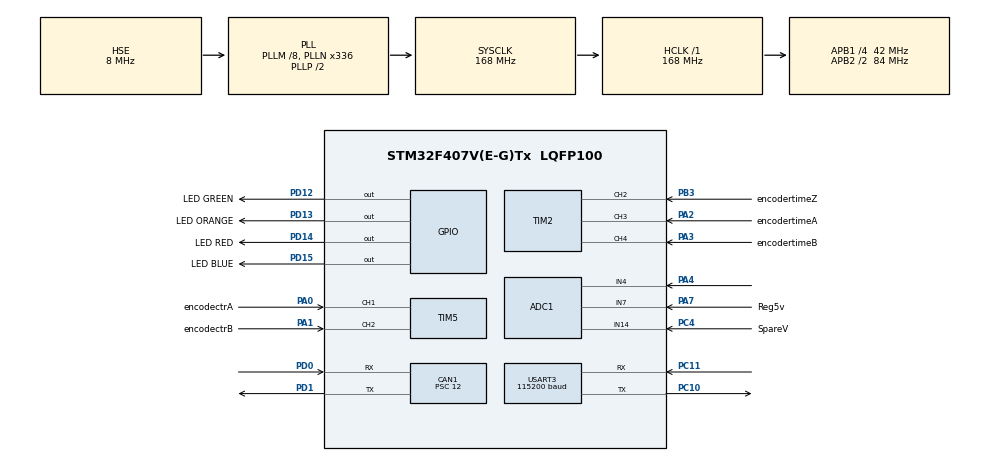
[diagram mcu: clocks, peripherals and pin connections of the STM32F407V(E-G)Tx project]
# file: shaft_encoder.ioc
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ADC1.Channel-1\#ChannelRegularConversion=ADC_CHANNEL_4
ADC1.Channel-2\#ChannelRegularConversion=ADC_CHANNEL_7
ADC1.Channel-3\#ChannelRegularConversion=ADC_CHANNEL_14
ADC1.Channel-4\#ChannelRegularConversion=ADC_CHANNEL_TEMPSENSOR
ADC1.Channel-5\#ChannelRegularConversion=ADC_CHANNEL_VREFINT
ADC1.ContinuousConvMode=ENABLE
ADC1.DMAContinuousRequests=ENABLE
ADC1.InjNumberOfConversion=0
ADC1.NbrOfConversion=5
ADC1.NbrOfConversionFlag=1
ADC1.Rank-1\#ChannelRegularConversion=1
ADC1.Rank-2\#ChannelRegularConversion=2
ADC1.Rank-3\#ChannelRegularConversion=3
ADC1.Rank-4\#ChannelRegularConversion=4
ADC1.Rank-5\#ChannelRegularConversion=5
ADC1.SamplingTime-1\#ChannelRegularConversion=ADC_SAMPLETIME_480CYCLES
ADC1.SamplingTime-2\#ChannelRegularConversion=ADC_SAMPLETIME_480CYCLES
ADC1.SamplingTime-3\#ChannelRegularConversion=ADC_SAMPLETIME_480CYCLES
ADC1.SamplingTime-4\#ChannelRegularConversion=ADC_SAMPLETIME_480CYCLES
ADC1.SamplingTime-5\#ChannelRegularConversion=ADC_SAMPLETIME_480CYCLES
ADC1.master=1
CAN1.BS1=CAN_BS1_5TQ
CAN1.CalculateTimeQuantum=285.7142857142857
CAN1.Prescaler=12
Dma.ADC1.2.Direction=DMA_PERIPH_TO_MEMORY
Dma.ADC1.2.FIFOMode=DMA_FIFOMODE_DISABLE
Dma.ADC1.2.Instance=DMA2_Stream0
Dma.ADC1.2.MemDataAlignment=DMA_MDATAALIGN_HALFWORD
Dma.ADC1.2.MemInc=DMA_MINC_ENABLE
Dma.ADC1.2.Mode=DMA_CIRCULAR
Dma.ADC1.2.PeriphDataAlignment=DMA_PDATAALIGN_HALFWORD
Dma.ADC1.2.PeriphInc=DMA_PINC_DISABLE
Dma.ADC1.2.Priority=DMA_PRIORITY_LOW
Dma.Request0=USART3_RX
Dma.Request1=USART3_TX
Dma.Request2=ADC1
Dma.USART3_RX.0.Direction=DMA_PERIPH_TO_MEMORY
Dma.USART3_RX.0.FIFOMode=DMA_FIFOMODE_DISABLE
Dma.USART3_RX.0.Instance=DMA1_Stream1
Dma.USART3_RX.0.MemDataAlignment=DMA_MDATAALIGN_BYTE
Dma.USART3_RX.0.MemInc=DMA_MINC_ENABLE
Dma.USART3_RX.0.Mode=DMA_NORMAL
Dma.USART3_RX.0.PeriphDataAlignment=DMA_PDATAALIGN_BYTE
Dma.USART3_RX.0.PeriphInc=DMA_PINC_DISABLE
Dma.USART3_RX.0.Priority=DMA_PRIORITY_LOW
Dma.USART3_TX.1.Direction=DMA_MEMORY_TO_PERIPH
Dma.USART3_TX.1.FIFOMode=DMA_FIFOMODE_DISABLE
Dma.USART3_TX.1.Instance=DMA1_Stream3
Dma.USART3_TX.1.MemDataAlignment=DMA_MDATAALIGN_BYTE
Dma.USART3_TX.1.MemInc=DMA_MINC_ENABLE
Dma.USART3_TX.1.Mode=DMA_NORMAL
Dma.USART3_TX.1.PeriphDataAlignment=DMA_PDATAALIGN_BYTE
Dma.USART3_TX.1.PeriphInc=DMA_PINC_DISABLE
Dma.USART3_TX.1.Priority=DMA_PRIORITY_LOW
FREERTOS.INCLUDE_uxTaskGetStackHighWaterMark=1
FREERTOS.INCLUDE_vTaskDelayUntil=1
FREERTOS.INCLUDE_vTaskDelete=0
FREERTOS.INCLUDE_xTaskGetCurrentTaskHandle=1
FREERTOS.MEMORY_ALLOCATION=2
FREERTOS.Tasks01=defaultTask,0,384,StartDefaultTask,Default,NULL,Dynamic,NULL,NULL
FREERTOS.Timers01=defaultTaskTimer,CallbackdefaultTaskTimer,osTimerPeriodic,Default,NULL,Dynamic,NULL
FREERTOS.configCHECK_FOR_STACK_OVERFLOW=2
FREERTOS.configMINIMAL_STACK_SIZE=96
FREERTOS.configQUEUE_REGISTRY_SIZE=12
FREERTOS.configTICK_RATE_HZ=512
FREERTOS.configTOTAL_HEAP_SIZE=32768
FREERTOS.configUSE_TIMERS=1
Mcu.Family=STM32F4
Mcu.Name=STM32F407V(E-G)Tx
Mcu.Package=LQFP100
NVIC.ADC_IRQn=true\:7\:0\:true\:false\:true\:true\:true\:true\:true
NVIC.CAN1_RX0_IRQn=true\:7\:0\:true\:false\:true\:true\:true\:true\:true
NVIC.CAN1_RX1_IRQn=true\:7\:0\:true\:false\:true\:true\:true\:true\:true
NVIC.CAN1_TX_IRQn=true\:7\:0\:true\:false\:true\:true\:true\:true\:true
NVIC.DMA1_Stream1_IRQn=true\:10\:0\:true\:false\:true\:true\:false\:true\:true
NVIC.DMA1_Stream3_IRQn=true\:10\:0\:true\:false\:true\:true\:false\:true\:true
NVIC.DMA2_Stream0_IRQn=true\:7\:0\:true\:false\:true\:true\:false\:true\:true
NVIC.PriorityGroup=NVIC_PRIORITYGROUP_4
NVIC.TIM2_IRQn=true\:2\:0\:true\:false\:true\:true\:true\:true\:true
NVIC.TIM8_BRK_TIM12_IRQn=true\:0\:0\:false\:false\:true\:false\:false\:true\:true
NVIC.TimeBase=TIM8_BRK_TIM12_IRQn
NVIC.TimeBaseIP=TIM12
NVIC.USART3_IRQn=true\:8\:0\:true\:false\:true\:true\:true\:true\:true
PA0-WKUP.GPIO_Label=encodectrA
PA0-WKUP.GPIO_PuPd=GPIO_PULLUP
PA0-WKUP.Signal=S_TIM5_CH1
PA1.GPIO_Label=encodectrB
PA1.GPIO_PuPd=GPIO_PULLUP
PA1.Signal=S_TIM5_CH2
PA13.Mode=Serial_Wire
PA13.Signal=SYS_JTMS-SWDIO
PA14.Mode=Serial_Wire
PA14.Signal=SYS_JTCK-SWCLK
PA2.GPIO_Label=encodertimeA
PA2.GPIO_ModeDefaultPP=GPIO_MODE_AF_OD
PA2.GPIO_PuPd=GPIO_PULLUP
PA2.Signal=S_TIM2_CH3
PA3.GPIO_Label=encodertimeB
PA3.GPIO_ModeDefaultPP=GPIO_MODE_AF_OD
PA3.GPIO_PuPd=GPIO_PULLUP
PA3.Signal=S_TIM2_CH4
PA4.Signal=ADCx_IN4
PA7.GPIO_Label=Reg5v
PA7.Signal=ADCx_IN7
PB3.GPIO_Label=encodertimeZ
PB3.GPIO_ModeDefaultPP=GPIO_MODE_AF_OD
PB3.GPIO_PuPd=GPIO_PULLUP
PB3.Signal=S_TIM2_CH2
PC10.Mode=Asynchronous
PC10.Signal=USART3_TX
PC11.Mode=Asynchronous
PC11.Signal=USART3_RX
PC4.GPIO_Label=SpareV
PC4.Signal=ADCx_IN14
PD0.Mode=Master
PD0.Signal=CAN1_RX
PD1.Mode=Master
PD1.Signal=CAN1_TX
PD12.GPIO_Label=LED GREEN
PD12.Signal=GPIO_Output
PD13.GPIO_Label=LED ORANGE
PD13.Signal=GPIO_Output
PD14.GPIO_Label=LED RED
PD14.Signal=GPIO_Output
PD15.GPIO_Label=LED BLUE
PD15.Signal=GPIO_Output
PH0-OSC_IN.Mode=HSE-External-Oscillator
PH0-OSC_IN.Signal=RCC_OSC_IN
PH1-OSC_OUT.Mode=HSE-External-Oscillator
PH1-OSC_OUT.Signal=RCC_OSC_OUT
ProjectManager.HeapSize=0x200
ProjectManager.StackSize=0x400
ProjectManager.TargetToolchain=Makefile
RCC.48MHZClocksFreq_Value=48000000
RCC.AHBFreq_Value=168000000
RCC.APB1CLKDivider=RCC_HCLK_DIV4
RCC.APB1Freq_Value=42000000
RCC.APB1TimFreq_Value=84000000
RCC.APB2CLKDivider=RCC_HCLK_DIV2
RCC.APB2Freq_Value=84000000
RCC.APB2TimFreq_Value=168000000
RCC.CortexFreq_Value=168000000
RCC.HCLKFreq_Value=168000000
RCC.HSE_VALUE=8000000
RCC.HSI_VALUE=16000000
RCC.LSE_VALUE=32768
RCC.PLLM=8
RCC.PLLN=336
RCC.PLLQ=7
RCC.PLLSourceVirtual=RCC_PLLSOURCE_HSE
RCC.SYSCLKFreq_VALUE=168000000
RCC.SYSCLKSource=RCC_SYSCLKSOURCE_PLLCLK
RCC.VCOOutputFreq_Value=336000000
SH.ADCx_IN14.0=ADC1_IN14,IN14
SH.ADCx_IN4.0=ADC1_IN4,IN4
SH.ADCx_IN7.0=ADC1_IN7,IN7
SH.S_TIM2_CH2.0=TIM2_CH2,Input_Capture2_from_TI2
SH.S_TIM2_CH3.0=TIM2_CH3,Input_Capture3_from_TI3
SH.S_TIM2_CH4.0=TIM2_CH4,Input_Capture4_from_TI4
SH.S_TIM5_CH1.0=TIM5_CH1,Encoder_Interface
SH.S_TIM5_CH2.0=TIM5_CH2,Encoder_Interface
TIM2.Channel-Input_Capture2_from_TI2=TIM_CHANNEL_2
TIM2.Channel-Input_Capture3_from_TI3=TIM_CHANNEL_3
TIM2.Channel-Input_Capture4_from_TI4=TIM_CHANNEL_4
TIM2.Channel-Output\ Compare1\ No\ Output=TIM_CHANNEL_1
TIM2.ICPolarity_CH2=TIM_INPUTCHANNELPOLARITY_BOTHEDGE
TIM2.ICPolarity_CH3=TIM_INPUTCHANNELPOLARITY_BOTHEDGE
TIM2.ICPolarity_CH4=TIM_INPUTCHANNELPOLARITY_BOTHEDGE
USART3.BaudRate=115200
USART3.VirtualMode=VM_ASYNC
VP_ADC1_TempSens_Input.Mode=IN-TempSens
VP_ADC1_Vref_Input.Mode=IN-Vrefint
VP_FREERTOS_VS_CMSIS_V1.Mode=CMSIS_V1
VP_SYS_VS_tim12.Mode=TIM12
VP_TIM2_VS_no_output1.Mode=Output Compare1 No Output
VP_TIM3_VS_ClockSourceINT.Mode=Internal
board=custom

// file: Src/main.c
/* USER CODE BEGIN Header */
/**
  ******************************************************************************
  * @file           : main.c
  * @brief          : Main program body
  ******************************************************************************
  * This notice applies to any and all portions of this file
  * that are not between comment pairs USER CODE BEGIN and
  * USER CODE END. Other portions of this file, whether
  * inserted by the user or by software development tools
  * are owned by their respective copyright owners.
  *
  * Copyright (c) 2019 STMicroelectronics International N.V.
  * All rights reserved.
  *
  * Redistribution and use in source and binary forms, with or without
  * modification, are permitted, provided that the following conditions are met:
  *
  * 1. Redistribution of source code must retain the above copyright notice,
  *    this list of conditions and the following disclaimer.
  * 2. Redistributions in binary form must reproduce the above copyright notice,
  *    this list of conditions and the following disclaimer in the documentation
  *    and/or other materials provided with the distribution.
  * 3. Neither the name of STMicroelectronics nor the names of other
  *    contributors to this software may be used to endorse or promote products
  *    derived from this software without specific written permission.
  * 4. This software, including modifications and/or derivative works of this
  *    software, must execute solely and exclusively on microcontroller or
  *    microprocessor devices manufactured by or for STMicroelectronics.
  * 5. Redistribution and use of this software other than as permitted under
  *    this license is void and will automatically terminate your rights under
  *    this license.
  *
  * THIS SOFTWARE IS PROVIDED BY STMICROELECTRONICS AND CONTRIBUTORS "AS IS"
  * AND ANY EXPRESS, IMPLIED OR STATUTORY WARRANTIES, INCLUDING, BUT NOT
  * LIMITED TO, THE IMPLIED WARRANTIES OF MERCHANTABILITY, FITNESS FOR A
  * PARTICULAR PURPOSE AND NON-INFRINGEMENT OF THIRD PARTY INTELLECTUAL PROPERTY
  * RIGHTS ARE DISCLAIMED TO THE FULLEST EXTENT PERMITTED BY LAW. IN NO EVENT
  * SHALL STMICROELECTRONICS OR CONTRIBUTORS BE LIABLE FOR ANY DIRECT, INDIRECT,
  * INCIDENTAL, SPECIAL, EXEMPLARY, OR CONSEQUENTIAL DAMAGES (INCLUDING, BUT NOT
  * LIMITED TO, PROCUREMENT OF SUBSTITUTE GOODS OR SERVICES; LOSS OF USE, DATA,
  * OR PROFITS; OR BUSINESS INTERRUPTION) HOWEVER CAUSED AND ON ANY THEORY OF
  * LIABILITY, WHETHER IN CONTRACT, STRICT LIABILITY, OR TORT (INCLUDING
  * NEGLIGENCE OR OTHERWISE) ARISING IN ANY WAY OUT OF THE USE OF THIS SOFTWARE,
  * EVEN IF ADVISED OF THE POSSIBILITY OF SUCH DAMAGE.
  *
  ******************************************************************************
  */
/* USER CODE END Header */
#include "main.h"
#include "cmsis_os.h"

/* USER CODE BEGIN Includes */
#include <string.h>
#include "SerialTaskSend.h"
#include "stm32f4xx_hal_pcd.h"
#include "CanTask.h"
#include "can_iface.h"
#include "canfilter_setup.h"
#include "stm32f4xx_hal_can.h"
#include "getserialbuf.h"
#include "stackwatermark.h"
#include "yprintf.h"
#include "DTW_counter.h"
#include "SerialTaskReceive.h"
#include "yscanf.h"
#include "morse.h"
#include "MailboxTask.h"
#include "OdometerTask.h"
#include "odometer_items.h"
#include "levelwind_items.h"
#include "drum_items.h"
#include "LevelwindTask.h"
#include "levelwind_switches.h"
//#include "DrumTask.h"
//#include "BrakeTask.h"
#include "ADCTask.h"
#include "adcparams.h"

/* USER CODE END Includes */

/* USER CODE BEGIN PTD */

void* verr[8];
uint32_t verrx = 0;
__attribute__( ( always_inline ) ) __STATIC_INLINE uint32_t __get_SP(void)
{
  register uint32_t result;

  __ASM volatile ("MOV %0, SP\n" : "=r" (result) );
  return(result);
}

uint32_t timectr = 0;
struct CAN_CTLBLOCK* pctl0;	// Pointer to CAN1 control block
struct CAN_CTLBLOCK* pctl1;	// Pointer to CAN2 control block

uint32_t debugTX1b;
uint32_t debugTX1b_prev;

uint32_t debugTX1c;
uint32_t debugTX1c_prev;

uint32_t debug03;
uint32_t debug03_prev;

extern osThreadId SerialTaskHandle;
extern osThreadId CanTxTaskHandle;
extern osThreadId CanRxTaskHandle;
extern osThreadId SerialTaskReceiveHandle;

uint16_t m_trap = 450; // Trap codes for MX Init() and Error Handler

uint8_t canflag;
uint8_t canflag1;
uint8_t canflag2;

/* USER CODE END PTD */

ADC_HandleTypeDef hadc1;
DMA_HandleTypeDef hdma_adc1;

CAN_HandleTypeDef hcan1;

TIM_HandleTypeDef htim2;
TIM_HandleTypeDef htim3;
TIM_HandleTypeDef htim5;

UART_HandleTypeDef huart3;
DMA_HandleTypeDef hdma_usart3_rx;
DMA_HandleTypeDef hdma_usart3_tx;

osThreadId defaultTaskHandle;
osTimerId defaultTaskTimerHandle;

void SystemClock_Config(void);
static void MX_GPIO_Init(void);
static void MX_DMA_Init(void);
static void MX_CAN1_Init(void);
static void MX_USART3_UART_Init(void);
static void MX_TIM2_Init(void);
static void MX_TIM5_Init(void);
static void MX_TIM3_Init(void);
static void MX_ADC1_Init(void);
void StartDefaultTask(void const * argument);
void CallbackdefaultTaskTimer(void const * argument);

int main(void)
{
  /* USER CODE BEGIN 1 */
	BaseType_t ret;	   // Used for returns from function calls
	osMessageQId Qidret; // Function call return
	osThreadId Thrdret;  // Return from thread create

// Debug: Clear heap area
//uint32_t* pclr = (uint32_t*)(0x2000bb80);
//while (pclr < (uint32_t*)(0x2000bb80 + 32768)) *pclr++ = 0x66666666;

  /* USER CODE END 1 */

  /* MCU Configuration--------------------------------------------------------*/

  /* Reset of all peripherals, Initializes the Flash interface and the Systick. */
  HAL_Init();

  /* USER CODE BEGIN Init */
	DTW_counter_init();
  /* USER CODE END Init */

  /* Configure the system clock */
  SystemClock_Config();

  /* USER CODE BEGIN SysInit */

	/* Add bcb circular buffer to SerialTaskSend for usart3 -- PC monitor */
	#define NUMCIRBCB3  16 // Size of circular buffer of BCB for usart3
	ret = xSerialTaskSendAdd(&HUARTMON, NUMCIRBCB3, 1); // dma
	if (ret < 0) morse_trap(14); // Panic LED flashing

	/* Setup TX linked list for CAN  */
   // CAN1 (CAN_HandleTypeDef *phcan, uint8_t canidx, uint16_t numtx, uint16_t numrx);
	pctl0 = can_iface_init(&hcan1, 0, 32, 32);
	if (pctl0 == NULL) morse_trap(7); // Panic LED flashing
	if (pctl0->ret < 0) morse_trap(77);

	// CAN 2
#ifdef CONFIGCAN2
	pctl1 = can_iface_init(&hcan2, 1,32, 64);
	if (pctl1 == NULL) morse_trap(8); // Panic LED flashing
	if (pctl1->ret < 0) morse_trap(88);
#endif

  /* USER CODE END SysInit */

  /* Initialize all configured peripherals */
  MX_GPIO_Init();
  MX_DMA_Init();
  MX_CAN1_Init();
  MX_USART3_UART_Init();
  MX_TIM2_Init();
  MX_TIM5_Init();
  MX_TIM3_Init();
  MX_ADC1_Init();

  /* Create the timer(s) */
  /* definition and creation of defaultTaskTimer */
  osTimerDef(defaultTaskTimer, CallbackdefaultTaskTimer);
  defaultTaskTimerHandle = osTimerCreate(osTimer(defaultTaskTimer), osTimerPeriodic, NULL);

  /* USER CODE BEGIN RTOS_TIMERS */
  /* start timers, add new ones, ... */

	/* defaultTask timer for pacing defaultTask output. */
//	ret = xTimerChangePeriod( defaultTaskTimerHandle  ,pdMS_TO_TICKS(64),0);

  /* USER CODE END RTOS_TIMERS */

  /* Create the thread(s) */
  /* definition and creation of defaultTask */
  osThreadDef(defaultTask, StartDefaultTask, osPriorityNormal, 0, 384);
  defaultTaskHandle = osThreadCreate(osThread(defaultTask), NULL);

  /* USER CODE BEGIN RTOS_THREADS */
  /* add threads, ... */
/* =================================================== */
  /* init code for USB_DEVICE */

//taskENTER_CRITICAL();
  //MX_USB_DEVICE_Init();
  //osDelay(0);
//taskEXIT_CRITICAL();

	/* Create serial task (priority) */
	// Task handle "osThreadId SerialTaskHandle" is global
	Thrdret = xSerialTaskSendCreate(1);	// Create task and set Task priority
	if (Thrdret == NULL) morse_trap(225);

	/* Create serial receiving task. */
//	ret = xSerialTaskReceiveCreate(1);
//	if (ret != pdPASS) morse_trap(224);

	/* Setup semaphore for yprint and sprintf et al. */
	yprintf_init();

  /* definition and creation of CanTxTask - CAN driver TX interface. */
  Qidret = xCanTxTaskCreate(1, 64); // CanTask priority, Number of msgs in queue
	if (Qidret < 0) morse_trap(220); // Panic LED flashing

  /* definition and creation of CanRxTask - CAN driver RX interface. */
  /* The MailboxTask takes care of the CANRx                         */
//  Qidret = xCanRxTaskCreate(1, 32); // CanTask priority, Number of msgs in queue
//	if (Qidret < 0) morse_trap(6); // Panic LED flashing

	/* Setup CAN hardware filters to default to accept all ids. */
	HAL_StatusTypeDef Cret;
	Cret = canfilter_setup_first(0, &hcan1, 15); // CAN1
	if (Cret == HAL_ERROR) morse_trap(219);

#ifdef CONFIGCAN2
	Cret = canfilter_setup_first(0, &hcan2, 15); // CAN2
	if (Cret == HAL_ERROR) morse_trap(217);
#endif

	/* Remove "accept all" CAN msgs and add specific id & mask, or id here. */
	// See canfilter_setup.h

	/* Create MailboxTask */
	xMailboxTaskCreate(osPriorityNormal+1); // (arg) = priority

	/* Create Mailbox control block w 'take' pointer for each CAN module. */
	struct MAILBOXCANNUM* pmbxret;
	// (CAN1 control block pointer, size of circular buffer)
	pmbxret = MailboxTask_add_CANlist(pctl0, 48);
	if (pmbxret == NULL) morse_trap(215);

#ifdef CONFIGCAN2
	// (CAN2 control block pointer, size of circular buffer)
	pmbxret = MailboxTask_add_CANlist(pctl1, 48); // Use default buff size
	if (pmbxret == NULL) morse_trap(214);
#endif

  /* ADC summing, calibration, etc. */
  xADCTaskCreate(1); // (arg) = priority

  /* Odometer task */
  Thrdret = xOdometerTaskCreate(osPriorityNormal+2); // (arg) = priority
  if (Thrdret == NULL) morse_trap(2164);

  /* Levelwind (stepper) task */
//  Thrdret = xLevelwindTaskCreate(5); // (arg) = priority
//  if (Thrdret == NULL) morse_trap(2161);

  /* Drum task */
//  Thrdret = xDrumTaskCreate(4); // (arg) = priority
//  if (Thrdret == NULL) morse_trap(2162);

  /* Brake task */
//  Thrdret = xBrakeTaskCreate(1); // (arg) = priority
//  if (Thrdret == NULL) morse_trap(2163);

	/* Further initialization of mailboxes takes place when tasks start */

	/* Select interrupts for CAN1 */
	HAL_CAN_ActivateNotification(&hcan1, \
		CAN_IT_TX_MAILBOX_EMPTY     |  \
		CAN_IT_RX_FIFO0_MSG_PENDING |  \
		CAN_IT_RX_FIFO1_MSG_PENDING    );

	/* Select interrupts for CAN2 */
#ifdef CONFIGCAN2
	HAL_CAN_ActivateNotification(&hcan2, \
		CAN_IT_TX_MAILBOX_EMPTY     |  \
		CAN_IT_RX_FIFO0_MSG_PENDING |  \
		CAN_IT_RX_FIFO1_MSG_PENDING    );
#endif

/* =================================================== */

  /* USER CODE END RTOS_THREADS */

  /* Start scheduler */
  osKernelStart();

  /* We should never get here as control is now taken by the scheduler */
  /* Infinite loop */
  while (1)
  {

  }
}

void SystemClock_Config(void)
{
  RCC_OscInitTypeDef RCC_OscInitStruct = {0};
  RCC_ClkInitTypeDef RCC_ClkInitStruct = {0};

  /** Configure the main internal regulator output voltage
  */
  __HAL_RCC_PWR_CLK_ENABLE();
  __HAL_PWR_VOLTAGESCALING_CONFIG(PWR_REGULATOR_VOLTAGE_SCALE1);
  /** Initializes the RCC Oscillators according to the specified parameters
  * in the RCC_OscInitTypeDef structure.
  */
  RCC_OscInitStruct.OscillatorType = RCC_OSCILLATORTYPE_HSE;
  RCC_OscInitStruct.HSEState = RCC_HSE_ON;
  RCC_OscInitStruct.PLL.PLLState = RCC_PLL_ON;
  RCC_OscInitStruct.PLL.PLLSource = RCC_PLLSOURCE_HSE;
  RCC_OscInitStruct.PLL.PLLM = 8;
  RCC_OscInitStruct.PLL.PLLN = 336;
  RCC_OscInitStruct.PLL.PLLP = RCC_PLLP_DIV2;
  RCC_OscInitStruct.PLL.PLLQ = 7;
  if (HAL_RCC_OscConfig(&RCC_OscInitStruct) != HAL_OK)
  {
    Error_Handler();
  }
  /** Initializes the CPU, AHB and APB buses clocks
  */
  RCC_ClkInitStruct.ClockType = RCC_CLOCKTYPE_HCLK|RCC_CLOCKTYPE_SYSCLK
                              |RCC_CLOCKTYPE_PCLK1|RCC_CLOCKTYPE_PCLK2;
  RCC_ClkInitStruct.SYSCLKSource = RCC_SYSCLKSOURCE_PLLCLK;
  RCC_ClkInitStruct.AHBCLKDivider = RCC_SYSCLK_DIV1;
  RCC_ClkInitStruct.APB1CLKDivider = RCC_HCLK_DIV4;
  RCC_ClkInitStruct.APB2CLKDivider = RCC_HCLK_DIV2;

  if (HAL_RCC_ClockConfig(&RCC_ClkInitStruct, FLASH_LATENCY_5) != HAL_OK)
  {
    Error_Handler();
  }
}

static void MX_ADC1_Init(void)
{

  ADC_ChannelConfTypeDef sConfig = {0};

  /** Configure the global features of the ADC (Clock, Resolution, Data Alignment and number of conversion)
  */
  hadc1.Instance = ADC1;
  hadc1.Init.ClockPrescaler = ADC_CLOCK_SYNC_PCLK_DIV4;
  hadc1.Init.Resolution = ADC_RESOLUTION_12B;
  hadc1.Init.ScanConvMode = ENABLE;
  hadc1.Init.ContinuousConvMode = ENABLE;
  hadc1.Init.DiscontinuousConvMode = DISABLE;
  hadc1.Init.ExternalTrigConvEdge = ADC_EXTERNALTRIGCONVEDGE_NONE;
  hadc1.Init.ExternalTrigConv = ADC_SOFTWARE_START;
  hadc1.Init.DataAlign = ADC_DATAALIGN_RIGHT;
  hadc1.Init.NbrOfConversion = 5;
  hadc1.Init.DMAContinuousRequests = ENABLE;
  hadc1.Init.EOCSelection = ADC_EOC_SINGLE_CONV;
  if (HAL_ADC_Init(&hadc1) != HAL_OK)
  {
    Error_Handler();
  }
  /** Configure for the selected ADC regular channel its corresponding rank in the sequencer and its sample time.
  */
  sConfig.Channel = ADC_CHANNEL_4;
  sConfig.Rank = 1;
  sConfig.SamplingTime = ADC_SAMPLETIME_480CYCLES;
  if (HAL_ADC_ConfigChannel(&hadc1, &sConfig) != HAL_OK)
  {
    Error_Handler();
  }
  /** Configure for the selected ADC regular channel its corresponding rank in the sequencer and its sample time.
  */
  sConfig.Channel = ADC_CHANNEL_7;
  sConfig.Rank = 2;
  if (HAL_ADC_ConfigChannel(&hadc1, &sConfig) != HAL_OK)
  {
    Error_Handler();
  }
  /** Configure for the selected ADC regular channel its corresponding rank in the sequencer and its sample time.
  */
  sConfig.Channel = ADC_CHANNEL_14;
  sConfig.Rank = 3;
  if (HAL_ADC_ConfigChannel(&hadc1, &sConfig) != HAL_OK)
  {
    Error_Handler();
  }
  /** Configure for the selected ADC regular channel its corresponding rank in the sequencer and its sample time.
  */
  sConfig.Channel = ADC_CHANNEL_TEMPSENSOR;
  sConfig.Rank = 4;
  if (HAL_ADC_ConfigChannel(&hadc1, &sConfig) != HAL_OK)
  {
    Error_Handler();
  }
  /** Configure for the selected ADC regular channel its corresponding rank in the sequencer and its sample time.
  */
  sConfig.Channel = ADC_CHANNEL_VREFINT;
  sConfig.Rank = 5;
  if (HAL_ADC_ConfigChannel(&hadc1, &sConfig) != HAL_OK)
  {
    Error_Handler();
  }

}

static void MX_CAN1_Init(void)
{

  /* USER CODE BEGIN CAN1_Init 0 */
	m_trap = 456; // morse_trap(456);
  /* USER CODE END CAN1_Init 0 */

  hcan1.Instance = CAN1;
  hcan1.Init.Prescaler = 12;
  hcan1.Init.Mode = CAN_MODE_NORMAL;
  hcan1.Init.SyncJumpWidth = CAN_SJW_1TQ;
  hcan1.Init.TimeSeg1 = CAN_BS1_5TQ;
  hcan1.Init.TimeSeg2 = CAN_BS2_1TQ;
  hcan1.Init.TimeTriggeredMode = DISABLE;
  hcan1.Init.AutoBusOff = DISABLE;
  hcan1.Init.AutoWakeUp = DISABLE;
  hcan1.Init.AutoRetransmission = DISABLE;
  hcan1.Init.ReceiveFifoLocked = DISABLE;
  hcan1.Init.TransmitFifoPriority = DISABLE;
  if (HAL_CAN_Init(&hcan1) != HAL_OK)
  {
    Error_Handler();
  }

}

static void MX_TIM2_Init(void)
{

  TIM_MasterConfigTypeDef sMasterConfig = {0};
  TIM_OC_InitTypeDef sConfigOC = {0};
  TIM_IC_InitTypeDef sConfigIC = {0};

  htim2.Instance = TIM2;
  htim2.Init.Prescaler = 0;
  htim2.Init.CounterMode = TIM_COUNTERMODE_UP;
  htim2.Init.Period = 4294967295;
  htim2.Init.ClockDivision = TIM_CLOCKDIVISION_DIV1;
  htim2.Init.AutoReloadPreload = TIM_AUTORELOAD_PRELOAD_DISABLE;
  if (HAL_TIM_OC_Init(&htim2) != HAL_OK)
  {
    Error_Handler();
  }
  if (HAL_TIM_IC_Init(&htim2) != HAL_OK)
  {
    Error_Handler();
  }
  sMasterConfig.MasterOutputTrigger = TIM_TRGO_RESET;
  sMasterConfig.MasterSlaveMode = TIM_MASTERSLAVEMODE_DISABLE;
  if (HAL_TIMEx_MasterConfigSynchronization(&htim2, &sMasterConfig) != HAL_OK)
  {
    Error_Handler();
  }
  sConfigOC.OCMode = TIM_OCMODE_TIMING;
  sConfigOC.Pulse = 0;
  sConfigOC.OCPolarity = TIM_OCPOLARITY_HIGH;
  sConfigOC.OCFastMode = TIM_OCFAST_DISABLE;
  if (HAL_TIM_OC_ConfigChannel(&htim2, &sConfigOC, TIM_CHANNEL_1) != HAL_OK)
  {
    Error_Handler();
  }
  sConfigIC.ICPolarity = TIM_INPUTCHANNELPOLARITY_BOTHEDGE;
  sConfigIC.ICSelection = TIM_ICSELECTION_DIRECTTI;
  sConfigIC.ICPrescaler = TIM_ICPSC_DIV1;
  sConfigIC.ICFilter = 0;
  if (HAL_TIM_IC_ConfigChannel(&htim2, &sConfigIC, TIM_CHANNEL_2) != HAL_OK)
  {
    Error_Handler();
  }
  if (HAL_TIM_IC_ConfigChannel(&htim2, &sConfigIC, TIM_CHANNEL_3) != HAL_OK)
  {
    Error_Handler();
  }
  if (HAL_TIM_IC_ConfigChannel(&htim2, &sConfigIC, TIM_CHANNEL_4) != HAL_OK)
  {
    Error_Handler();
  }

}

static void MX_TIM3_Init(void)
{

  TIM_ClockConfigTypeDef sClockSourceConfig = {0};
  TIM_MasterConfigTypeDef sMasterConfig = {0};

  htim3.Instance = TIM3;
  htim3.Init.Prescaler = 0;
  htim3.Init.CounterMode = TIM_COUNTERMODE_UP;
  htim3.Init.Period = 65535;
  htim3.Init.ClockDivision = TIM_CLOCKDIVISION_DIV1;
  htim3.Init.AutoReloadPreload = TIM_AUTORELOAD_PRELOAD_DISABLE;
  if (HAL_TIM_Base_Init(&htim3) != HAL_OK)
  {
    Error_Handler();
  }
  sClockSourceConfig.ClockSource = TIM_CLOCKSOURCE_INTERNAL;
  if (HAL_TIM_ConfigClockSource(&htim3, &sClockSourceConfig) != HAL_OK)
  {
    Error_Handler();
  }
  sMasterConfig.MasterOutputTrigger = TIM_TRGO_RESET;
  sMasterConfig.MasterSlaveMode = TIM_MASTERSLAVEMODE_DISABLE;
  if (HAL_TIMEx_MasterConfigSynchronization(&htim3, &sMasterConfig) != HAL_OK)
  {
    Error_Handler();
  }

}

static void MX_TIM5_Init(void)
{

  TIM_Encoder_InitTypeDef sConfig = {0};
  TIM_MasterConfigTypeDef sMasterConfig = {0};

  htim5.Instance = TIM5;
  htim5.Init.Prescaler = 0;
  htim5.Init.CounterMode = TIM_COUNTERMODE_UP;
  htim5.Init.Period = 4294967295;
  htim5.Init.ClockDivision = TIM_CLOCKDIVISION_DIV1;
  htim5.Init.AutoReloadPreload = TIM_AUTORELOAD_PRELOAD_DISABLE;
  sConfig.EncoderMode = TIM_ENCODERMODE_TI1;
  sConfig.IC1Polarity = TIM_ICPOLARITY_RISING;
  sConfig.IC1Selection = TIM_ICSELECTION_DIRECTTI;
  sConfig.IC1Prescaler = TIM_ICPSC_DIV1;
  sConfig.IC1Filter = 0;
  sConfig.IC2Polarity = TIM_ICPOLARITY_RISING;
  sConfig.IC2Selection = TIM_ICSELECTION_DIRECTTI;
  sConfig.IC2Prescaler = TIM_ICPSC_DIV1;
  sConfig.IC2Filter = 0;
  if (HAL_TIM_Encoder_Init(&htim5, &sConfig) != HAL_OK)
  {
    Error_Handler();
  }
  sMasterConfig.MasterOutputTrigger = TIM_TRGO_RESET;
  sMasterConfig.MasterSlaveMode = TIM_MASTERSLAVEMODE_DISABLE;
  if (HAL_TIMEx_MasterConfigSynchronization(&htim5, &sMasterConfig) != HAL_OK)
  {
    Error_Handler();
  }

}

static void MX_USART3_UART_Init(void)
{

  /* USER CODE BEGIN USART3_Init 0 */
	m_trap = 451; // morse_trap(451);
  /* USER CODE END USART3_Init 0 */

  huart3.Instance = USART3;
  huart3.Init.BaudRate = 115200;
  huart3.Init.WordLength = UART_WORDLENGTH_8B;
  huart3.Init.StopBits = UART_STOPBITS_1;
  huart3.Init.Parity = UART_PARITY_NONE;
  huart3.Init.Mode = UART_MODE_TX_RX;
  huart3.Init.HwFlowCtl = UART_HWCONTROL_NONE;
  huart3.Init.OverSampling = UART_OVERSAMPLING_16;
  if (HAL_UART_Init(&huart3) != HAL_OK)
  {
    Error_Handler();
  }

}

static void MX_DMA_Init(void)
{

  /* DMA controller clock enable */
  __HAL_RCC_DMA1_CLK_ENABLE();
  __HAL_RCC_DMA2_CLK_ENABLE();

  /* DMA interrupt init */
  /* DMA1_Stream1_IRQn interrupt configuration */
  HAL_NVIC_SetPriority(DMA1_Stream1_IRQn, 10, 0);
  HAL_NVIC_EnableIRQ(DMA1_Stream1_IRQn);
  /* DMA1_Stream3_IRQn interrupt configuration */
  HAL_NVIC_SetPriority(DMA1_Stream3_IRQn, 10, 0);
  HAL_NVIC_EnableIRQ(DMA1_Stream3_IRQn);
  /* DMA2_Stream0_IRQn interrupt configuration */
  HAL_NVIC_SetPriority(DMA2_Stream0_IRQn, 7, 0);
  HAL_NVIC_EnableIRQ(DMA2_Stream0_IRQn);

}

static void MX_GPIO_Init(void)
{
  GPIO_InitTypeDef GPIO_InitStruct = {0};

  /* GPIO Ports Clock Enable */
  __HAL_RCC_GPIOH_CLK_ENABLE();
  __HAL_RCC_GPIOA_CLK_ENABLE();
  __HAL_RCC_GPIOC_CLK_ENABLE();
  __HAL_RCC_GPIOD_CLK_ENABLE();
  __HAL_RCC_GPIOB_CLK_ENABLE();

  /*Configure GPIO pin Output Level */
  HAL_GPIO_WritePin(GPIOD, LED_GREEN_Pin|LED_ORANGE_Pin|LED_RED_Pin|LED_BLUE_Pin, GPIO_PIN_RESET);

  /*Configure GPIO pins : LED_GREEN_Pin LED_ORANGE_Pin LED_RED_Pin LED_BLUE_Pin */
  GPIO_InitStruct.Pin = LED_GREEN_Pin|LED_ORANGE_Pin|LED_RED_Pin|LED_BLUE_Pin;
  GPIO_InitStruct.Mode = GPIO_MODE_OUTPUT_PP;
  GPIO_InitStruct.Pull = GPIO_NOPULL;
  GPIO_InitStruct.Speed = GPIO_SPEED_FREQ_LOW;
  HAL_GPIO_Init(GPIOD, &GPIO_InitStruct);

}

/* USER CODE BEGIN Header_StartDefaultTask */
/**
  * @brief  Function implementing the defaultTask thread.
  * @param  argument: Not used
  * @retval None
  */
// ################################################################################
// ######### DEFAULT TASK #########################################################
// ################################################################################
/* USER CODE END Header_StartDefaultTask */
void StartDefaultTask(void const * argument)
{
  /* USER CODE BEGIN 5 */

osDelay(0); // Debugging HardFault

/* Select code for testing/monitoring by uncommenting #defines */
//#define DISPLAYSTACKUSAGEFORTASKS
//#define ADCSHOW
//#define SHOWADCCOMMONCOMPUTATIONS
//#define STEPPERSHOW
//#define ENCODERSHOW
#define SHOWENTIMCT

	#define DEFAULTTSKBIT00	(1 << 0)  // Task notification bit for sw timer: stackusage
	#define DEFAULTTSKBIT01	(1 << 1)  // Task notification bit for sw timer: something else

	/* A notification copies the internal notification word to this. */
	uint32_t noteval = 0;    // Receives notification word upon an API notify

	struct SERIALSENDTASKBCB* pbuf1 = getserialbuf(&HUARTMON,96);
	if (pbuf1 == NULL) morse_trap(11);

	struct SERIALSENDTASKBCB* pbuf3 = getserialbuf(&HUARTMON,96);
	if (pbuf3 == NULL) morse_trap(13);

	struct SERIALSENDTASKBCB* pbuf2 = getserialbuf(&HUARTMON,96);
	if (pbuf2 == NULL) morse_trap(12);

	struct SERIALSENDTASKBCB* pbuf4 = getserialbuf(&HUARTMON,96);
	if (pbuf4 == NULL) morse_trap(12);

yprintf(&pbuf4,"\n\rshaft_encoder2 starts\n\r");

#ifdef DISPLAYSTACKUSAGEFORTASKS
	int ctr = 0; // Running count
	uint32_t heapsize;
	uint32_t showctr = 0;
	uint32_t t1_DSUFT; // DTW time
	uint32_t t2_DSUFT;
#endif

HAL_GPIO_TogglePin(GPIOD,GPIO_PIN_15); // BLUE LED

#ifdef  SHOWSERIALPARALLELSTUFF
uint32_t spispctr_prev = 0;
#endif

/* Countdown timer for various display speeds. */
uint16_t slowtimectr = 0; // Approx 1/sec
uint16_t medtimectr = 0;  // Approx 8/sec

uint8_t ratepace = 0;

//osDelay(1);
	xTimerChangePeriod( defaultTaskTimerHandle  ,pdMS_TO_TICKS(16),0);

#ifdef ADCSHOW
//  extern uint32_t adcsumdb[6]; // debug
  extern uint16_t* p16;
  uint32_t ctr1_prev = 0;
  uint32_t ct = 0;
#endif

#ifdef STEPPERSHOW
  uint32_t stepctr = 1;
#endif
// ===== BEGIN FOR LOOP ==============================

	for ( ;; )
	{
		xTaskNotifyWait(0,0xffffffff, &noteval, portMAX_DELAY);
    if ((noteval & DEFAULTTSKBIT01) != 0)
    {

#ifdef SHOWENTIMCT
      struct ODOMETERFUNCTION* pe = &odometerfunction; // Convenience pointer

      yprintf(&pbuf1,"\n\r%7d %4d", pe->odotimct_int_diff[0].tim, pe->odotimct_int_diff[0].ct);
      yprintf(&pbuf2," %7d %4d",    pe->odotimct_int_diff[1].tim, pe->odotimct_int_diff[1].ct);
      yprintf(&pbuf3," %7d %4d",    pe->odotimct_int_diff[2].tim, pe->odotimct_int_diff[2].ct);
      yprintf(&pbuf4," %7d %4d %4d",pe->odotimct_int_diff[3].tim, pe->odotimct_int_diff[3].ct, pe->en_cnt_diff);
      yprintf(&pbuf1," %9.3f", pe->odo_speed_ave_motor);
      yprintf(&pbuf2," %9.3f", pe->accel_ave_motor);
      yprintf(&pbuf3," %9.3f", pe->en_cnt_speed);
      yprintf(&pbuf4," %9.3f", pe->en_cnt_accel_motor);

#endif
      }

		if ((noteval & DEFAULTTSKBIT00) != 0)
		{
// ================= Higest rate =======================================
    ratepace += 1;
    if (ratepace > 0) // Slow down LCD output rate if desired
    {
      ratepace = 0;
    }
// ================== SLOW ==============================================
/* Countdown timer notifications. */
			slowtimectr += 1;
			if (slowtimectr >= 64)
			{
				slowtimectr = 0;

#ifdef ADCSHOW

  yprintf(&pbuf4,"\n\rA%4i %9i %6i %6i %6i %6i %6i",ct, adc1.ctr-ctr1_prev,
    *(p16+0),*(p16+1),*(p16+2),*(p16+3),*(p16+4) );

    yprintf(&pbuf4,"\n\rB%4i %9i %6i %6i %6i %6i %6i",ct++, adc1.ctr-ctr1_prev,
    *(p16+5),*(p16+6),*(p16+7),*(p16+8),*(p16+9) );

//    adcsumdb[0],adcsumdb[1],adcsumdb[2],adcsumdb[3],adcsumdb[4]);
  ctr1_prev = adc1.ctr;
#endif

#ifdef ENCODERSHOW
  struct ODOMETERFUNCTION* pen = &odometerfunction; // Convenience pointer

  yprintf(&pbuf1,"\n\rspeed_sum%14.8f",pen->speed_sum);

  float ftmp1 = pen->speed_sum * pen->lc.scale_en_mtr; // Scale raw->motor rpm
  yprintf(&pbuf4,"\n\r_ave_mtr %12.6f %14.6f",ftmp1, pen->en_cnt_speed);

  ftmp1 = ftmp1 * pen->lc.scale_mtr_drum;  // Scale motor rpm->drum rpm
  yprintf(&pbuf4,"\n\r_ave_drum%12.6f",ftmp1);

  yprintf(&pbuf2,"\n\r    tim :%12d%12d%12d%12d"    ,pen->odotimct_buff[0].tim,pen->odotimct_buff[1].tim,pen->odotimct_buff[2].tim,pen->odotimct_buff[3].tim);
  yprintf(&pbuf3,"\n\r    ct  :%12d%12d%12d%12d"    ,pen->odotimct_buff[0].ct ,pen->odotimct_buff[1].ct ,pen->odotimct_buff[2].ct ,pen->odotimct_buff[3].ct );
  yprintf(&pbuf3,"\n\rdiff.tim:%12d%12d%12d%12d"    ,pen->odotimct_int_diff[0].tim,pen->odotimct_int_diff[1].tim,pen->odotimct_int_diff[2].tim,pen->odotimct_int_diff[3].tim);

  yprintf(&pbuf4,"\n\rdiff.ct :%12d%12d%12d%12d",pen->odotimct_int_diff[0].ct ,pen->odotimct_int_diff[1].ct ,pen->odotimct_int_diff[2].ct ,pen->odotimct_int_diff[3].ct );
  yprintf(&pbuf1,"%12d\n\r",pen->en_cnt_diff);

extern uint32_t debugodo1;
yprintf(&pbuf1," x %d\n\r",debugodo1);
#endif

#ifdef DISPLAYSTACKUSAGEFORTASKS
			/* Display the amount of unused stack space for tasks. */
t1_DSUFT = DTWTIME;
			showctr += 1;
/* 'for' is to test doing all scans at one timer tick. */
for (showctr = 0; showctr < 7; showctr++)
{
				switch (showctr)
				{
/* Cycle through the tasks. */
case  0: stackwatermark_show(defaultTaskHandle,&pbuf1,"defaultTask--");break;
case  1: stackwatermark_show(SerialTaskHandle ,&pbuf2,"SerialTask---");break;
case  2: stackwatermark_show(CanTxTaskHandle  ,&pbuf3,"CanTxTask----");break;
case  3: stackwatermark_show(MailboxTaskHandle,&pbuf4,"MailboxTask--");break;
case  4: stackwatermark_show(SerialTaskReceiveHandle,&pbuf1,"SerialRcvTask");break;
case  5: stackwatermark_show(ADCTaskHandle,    &pbuf4,"ADCTask------");break;

case 6:	heapsize = xPortGetFreeHeapSize(); // Heap usage (and test fp working.
			yprintf(&pbuf1,"\n\rGetFreeHeapSize: total: %i free %i %3.1f%% used: %i",configTOTAL_HEAP_SIZE, heapsize,\
				100.0*(float)heapsize/configTOTAL_HEAP_SIZE,(configTOTAL_HEAP_SIZE-heapsize)); break;
default: showctr=0; yprintf(&pbuf1,"\n\r%4i Unused Task stack space--", ctr++); break;
				}
}
t2_DSUFT = DTWTIME;
yprintf(&pbuf2,"\n\rDTW DUR: %d",t2_DSUFT - t1_DSUFT);

#endif

#ifdef SHOWADCCOMMONCOMPUTATIONS
      yprintf(&pbuf4,"\n\rADC: Vdd: %7.4f %8.4f   Temp: %6.1f %6.1f",adcommon.fvdd,adcommon.fvddfilt,adcommon.degC,adcommon.degCfilt);
      yprintf(&pbuf3,"\n\rInternal ref:   %d %d",adc1.chan[ADC1IDX_INTERNALVREF].sum/ADC1DMANUMSEQ, adcommon.ivdd);
      yprintf(&pbuf2,"\n\rCalibrated: vref: %6.4f",adc1.common.fvref);
#endif

  			}
// ================= Moderate ===================================
/* Countdown timer notifications. */
			medtimectr += 1;
			if (medtimectr >= 8)
			{
				medtimectr = 0;
    		HAL_GPIO_TogglePin(GPIOD,GPIO_PIN_15); // BLUE LED
			}
	  }
	}
  /* USER CODE END 5 */
}

/* CallbackdefaultTaskTimer function */
void CallbackdefaultTaskTimer(void const * argument)
{
  /* USER CODE BEGIN CallbackdefaultTaskTimer */
	BaseType_t xHigherPriorityTaskWoken = pdFALSE;
	if (defaultTaskHandle != NULL)
	{
		xTaskNotifyFromISR(defaultTaskHandle,
			DEFAULTTSKBIT00,	/* 'or' bit assigned to buffer to notification value. */
			eSetBits,      /* Set 'or' option */
			&xHigherPriorityTaskWoken );
	}

  /* USER CODE END CallbackdefaultTaskTimer */
}

void HAL_TIM_PeriodElapsedCallback(TIM_HandleTypeDef *htim)
{
  if (htim->Instance == TIM12) {
    HAL_IncTick();
  }
}

void Error_Handler(void)
{
  /* USER CODE BEGIN Error_Handler_Debug */
  /* User can add his own implementation to report the HAL error return state */
	morse_trap(m_trap); // Flash error code set in earlier MX Init()'s

  /* USER CODE END Error_Handler_Debug */
}

#ifdef  USE_FULL_ASSERT
/**
  * @brief  Reports the name of the source file and the source line number
  *         where the assert_param error has occurred.
  * @param  file: pointer to the source file name
  * @param  line: assert_param error line source number
  * @retval None
  */
void assert_failed(uint8_t *file, uint32_t line)
{
  /* USER CODE BEGIN 6 */
  /* User can add his own implementation to report the file name and line number,
     tex: printf("Wrong parameters value: file %s on line %d\r\n", file, line) */
morse_trap(222);
  /* USER CODE END 6 */
}
#endif /* USE_FULL_ASSERT */

/************************ (C) COPYRIGHT STMicroelectronics *****END OF FILE****/
